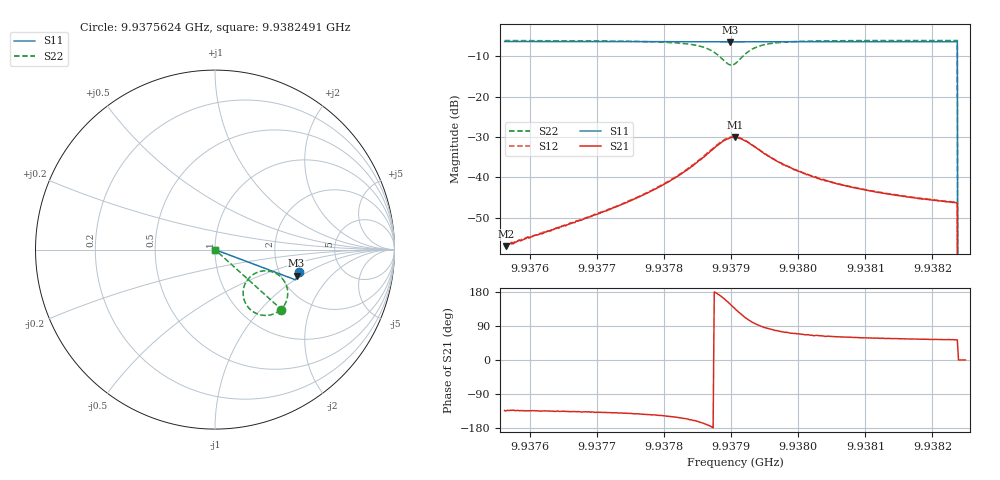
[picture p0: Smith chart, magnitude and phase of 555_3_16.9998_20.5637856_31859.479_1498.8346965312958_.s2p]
#  HZ  S  RI  R  50.00
! Rohde & Schwarz Vector Network Analyzer
! Rohde-Schwarz,ZNB20-2Port,1311601062101988,3.16
! Created: UTC 3/20/2024, 11:16:59 PM
! freq[Hz]  re:S11  im:S11  re:S21  im:S21  re:S12  im:S12  re:S22  im:S22
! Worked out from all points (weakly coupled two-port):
!   401 points, 9.9375624 GHz to 9.9382491 GHz, reference 50 ohm
!   highest |S21| = -30.09 dB at 9.9379058 GHz (marker M1); lowest = -57.0 dB at 9.9375641 GHz (marker M2)
!   lowest |S11| = -6.4 dB at 9.9378989 GHz (marker M3), VSWR 2.83, Z = 121 - j45.8 ohm
!   |S11| at or under -10 dB: 9.9382371 GHz to end of sweep
!   |S22| runs from - to -6.1 dB; largest |S21 - S12| = 0.0014
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9.93756238e9  0.4657 -0.1256  -0.000981 -0.00104  -0.000997 -0.00105  0.3654 -0.3351
9.9375641e9  0.4656 -0.1257  -0.000989 -0.001  -0.00104 -0.00105  0.3652 -0.3351
9.93767741e9  0.4632 -0.1335  -0.00219 -0.00201  -0.00223 -0.00205  0.3491 -0.3467
9.93773407e9  0.4616 -0.1372  -0.00348 -0.00292  -0.00357 -0.00289  0.3351 -0.3548
9.93779245e9  0.46 -0.1413  -0.00631 -0.00425  -0.00647 -0.00421  0.3074 -0.3639
9.9378285e9  0.4586 -0.1438  -0.0103 -0.00506  -0.0106 -0.00499  0.2728 -0.3664
9.9378594e9  0.457 -0.1455  -0.0175 -0.00382  -0.0181 -0.00368  0.2149 -0.3478
9.93787314e9  0.4559 -0.1465  -0.0225 -0.000437  -0.023 -3.48e-05  0.1798 -0.3145
9.93788516e9  0.4551 -0.1465  -0.0264 0.00569  -0.0268 0.00665  0.1578 -0.2578
9.93789374e9  0.4546 -0.1463  -0.0269 0.0125  -0.0274 0.0137  0.163 -0.2031
9.93789889e9  0.4543 -0.1461  -0.0259 0.017  -0.0259 0.0182  0.18 -0.1702
9.93790576e9  0.4547 -0.146  -0.0223 0.022  -0.0219 0.0233  0.2168 -0.1359
9.93791434e9  0.455 -0.1457  -0.0158 0.0257  -0.0151 0.0266  0.274 -0.1184
9.93792636e9  0.456 -0.1464  -0.00705 0.0261  -0.00641 0.0261  0.3407 -0.1335
9.93794353e9  0.4564 -0.1478  4.77e-05 0.0215  0.000674 0.0215  0.3883 -0.1794
9.93797958e9  0.456 -0.151  0.00409 0.0137  0.00425 0.0137  0.4053 -0.2468
9.93802079e9  0.4553 -0.1541  0.00426 0.00938  0.00447 0.00934  0.3992 -0.2825
9.93807058e9  0.4539 -0.1574  0.00388 0.00683  0.00403 0.00681  0.3897 -0.3039
9.93813582e9  0.4522 -0.1621  0.00338 0.00519  0.00353 0.00518  0.3803 -0.3193
9.93823368e9  0.4493 -0.1683  0.00293 0.00392  0.00304 0.00393  0.3698 -0.3327
9.93824227e9  0 0  0 0  0 0  0 0
9.93824913e9  0 0  0 0  0 0  0 0
